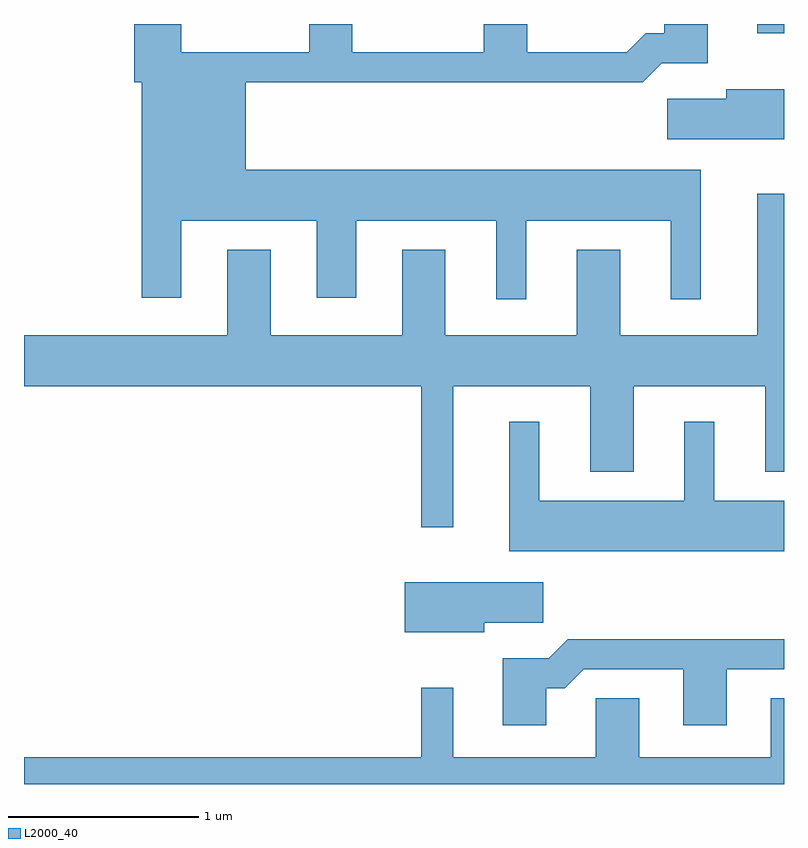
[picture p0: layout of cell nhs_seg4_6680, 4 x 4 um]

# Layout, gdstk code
import gdstk
lib = gdstk.Library(unit=1e-6, precision=1e-09)
def R(c, l, rs):  # rectangles x0, y0, x1, y1
    for r in rs: c.add(gdstk.rectangle(r[:2], r[2:], *l))
def P(c, l, *ps):  # polygons
    for p in ps: c.add(gdstk.Polygon(p, *l))
L2000_40 = (2000, 40)

nhs_seg4_6680 = lib.new_cell('nhs_seg4_6680')
R(nhs_seg4_6680, L2000_40, [(385.471,1289.933,385.611,1289.982)])
P(nhs_seg4_6680, L2000_40, [(384.254,1288.946),(385.016,1288.946),(385.016,1288.533),(385.174,1288.533),(385.174,1289.214),(382.779,1289.214),(382.779,1289.676),(384.867,1289.676),(384.967,1289.776),(385.209,1289.776),(385.209,1289.982),(384.981,1289.982),(384.981,1289.934),(384.884,1289.934),(384.784,1289.834),(384.259,1289.834),(384.259,1289.982),(384.031,1289.982),(384.031,1289.834),(383.339,1289.834),(383.339,1289.982),(383.111,1289.982),(383.111,1289.834),(382.439,1289.834),(382.439,1289.982),(382.191,1289.982),(382.191,1289.676),(382.231,1289.676),(382.231,1288.541),(382.439,1288.541),(382.439,1288.946),(383.151,1288.946),(383.151,1288.541),(383.359,1288.541),(383.359,1288.946),(384.096,1288.946),(384.096,1288.533),(384.254,1288.533)],
  [(385.611,1289.639),(385.306,1289.639),(385.306,1289.589),(384.996,1289.589),(384.996,1289.376),(385.611,1289.376)],
  [(383.869,1288.076),(384.591,1288.076),(384.591,1287.626),(384.819,1287.626),(384.819,1288.076),(385.511,1288.076),(385.511,1287.626),(385.611,1287.626),(385.611,1289.088),(385.471,1289.088),(385.471,1288.344),(384.749,1288.344),(384.749,1288.794),(384.521,1288.794),(384.521,1288.344),(383.829,1288.344),(383.829,1288.794),(383.601,1288.794),(383.601,1288.344),(382.909,1288.344),(382.909,1288.794),(382.681,1288.794),(382.681,1288.344),(381.611,1288.344),(381.611,1288.076),(383.701,1288.076),(383.701,1287.333),(383.869,1287.333)],
  [(385.611,1287.474),(385.244,1287.474),(385.244,1287.888),(385.086,1287.888),(385.086,1287.474),(384.324,1287.474),(384.324,1287.888),(384.166,1287.888),(384.166,1287.206),(385.611,1287.206)],
  [(384.034,1286.831),(384.344,1286.831),(384.344,1287.044),(383.616,1287.044),(383.616,1286.781),(384.034,1286.781)],
  [(384.359,1286.486),(384.457,1286.486),(384.557,1286.586),(385.081,1286.586),(385.081,1286.291),(385.309,1286.291),(385.309,1286.586),(385.611,1286.586),(385.611,1286.744),(384.474,1286.744),(384.374,1286.644),(384.131,1286.644),(384.131,1286.291),(384.359,1286.291)],
  [(385.611,1286.434),(385.541,1286.434),(385.541,1286.124),(384.849,1286.124),(384.849,1286.434),(384.621,1286.434),(384.621,1286.124),(383.869,1286.124),(383.869,1286.488),(383.701,1286.488),(383.701,1286.124),(381.611,1286.124),(381.611,1285.982),(385.611,1285.982)])

lib.write_gds('nhs_seg4_6680.gds')
